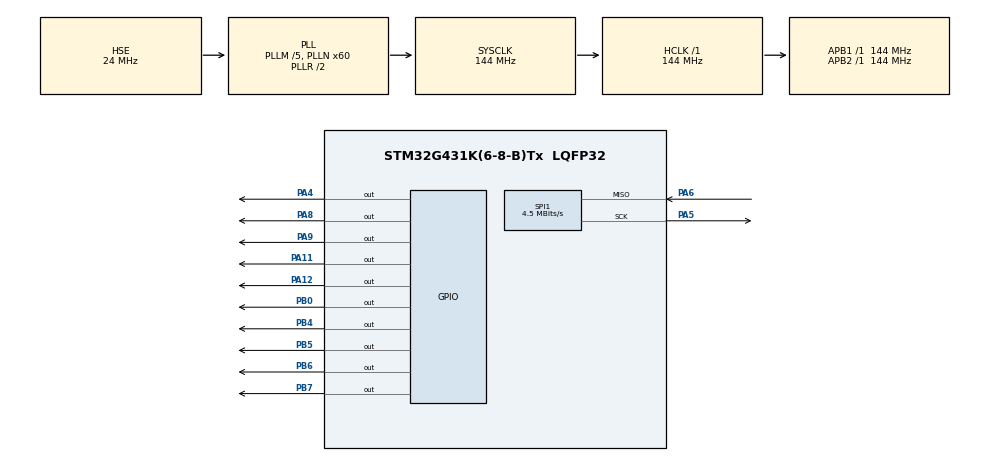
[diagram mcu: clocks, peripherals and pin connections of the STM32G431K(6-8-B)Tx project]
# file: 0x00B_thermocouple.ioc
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Mcu.Family=STM32G4
Mcu.Name=STM32G431K(6-8-B)Tx
Mcu.Package=LQFP32
NVIC.PriorityGroup=NVIC_PRIORITYGROUP_4
NVIC.TIM2_IRQn=true\:0\:0\:false\:false\:true\:true\:true
PA11.GPIO_Speed=GPIO_SPEED_FREQ_HIGH
PA11.Signal=GPIO_Output
PA12.GPIO_Speed=GPIO_SPEED_FREQ_HIGH
PA12.Signal=GPIO_Output
PA4.GPIO_Speed=GPIO_SPEED_FREQ_VERY_HIGH
PA4.PinState=GPIO_PIN_SET
PA4.Signal=GPIO_Output
PA5.GPIO_Speed=GPIO_SPEED_FREQ_VERY_HIGH
PA5.Mode=RX_Only_Simplex_Unidirect_Master
PA5.Signal=SPI1_SCK
PA6.GPIO_Speed=GPIO_SPEED_FREQ_VERY_HIGH
PA6.Mode=RX_Only_Simplex_Unidirect_Master
PA6.Signal=SPI1_MISO
PA8.GPIO_Speed=GPIO_SPEED_FREQ_HIGH
PA8.Signal=GPIO_Output
PA9.GPIO_Speed=GPIO_SPEED_FREQ_HIGH
PA9.Signal=GPIO_Output
PB0.GPIO_Speed=GPIO_SPEED_FREQ_HIGH
PB0.Signal=GPIO_Output
PB4.GPIO_Speed=GPIO_SPEED_FREQ_HIGH
PB4.Signal=GPIO_Output
PB5.GPIO_Speed=GPIO_SPEED_FREQ_HIGH
PB5.Signal=GPIO_Output
PB6.GPIO_FM6=__NULL
PB6.GPIO_Speed=GPIO_SPEED_FREQ_HIGH
PB6.Signal=GPIO_Output
PB7.GPIO_Speed=GPIO_SPEED_FREQ_HIGH
PB7.Signal=GPIO_Output
PF0-OSC_IN.Mode=HSE-External-Oscillator
PF0-OSC_IN.Signal=RCC_OSC_IN
PF1-OSC_OUT.Mode=HSE-External-Oscillator
PF1-OSC_OUT.Signal=RCC_OSC_OUT
ProjectManager.HeapSize=0x200
ProjectManager.StackSize=0x400
ProjectManager.TargetToolchain=STM32CubeIDE
RCC.ADC12Freq_Value=144000000
RCC.AHBFreq_Value=144000000
RCC.APB1Freq_Value=144000000
RCC.APB1TimFreq_Value=144000000
RCC.APB2Freq_Value=144000000
RCC.APB2TimFreq_Value=144000000
RCC.CortexFreq_Value=144000000
RCC.EXTERNAL_CLOCK_VALUE=12288000
RCC.HCLKFreq_Value=144000000
RCC.HSE_VALUE=24000000
RCC.HSI48_VALUE=48000000
RCC.HSI_VALUE=16000000
RCC.LSE_VALUE=32768
RCC.PLLM=RCC_PLLM_DIV5
RCC.PLLN=60
RCC.PLLSourceVirtual=RCC_PLLSOURCE_HSE
RCC.SYSCLKFreq_VALUE=144000000
RCC.SYSCLKSource=RCC_SYSCLKSOURCE_PLLCLK
RCC.USBFreq_Value=144000000
RCC.VCOOutputFreq_Value=288000000
SPI1.BaudRatePrescaler=SPI_BAUDRATEPRESCALER_32
SPI1.CalculateBaudRate=4.5 MBits/s
SPI1.DataSize=SPI_DATASIZE_16BIT
SPI1.Direction=SPI_DIRECTION_2LINES_RXONLY
SPI1.Mode=SPI_MODE_MASTER
SPI1.VirtualType=VM_MASTER
TIM2.PeriodNoDither=5000
TIM2.Prescaler=14400
VP_SYS_VS_DBSignals.Mode=DisableDeadBatterySignals
VP_TIM2_VS_ClockSourceINT.Mode=Internal
board=custom

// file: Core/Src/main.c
/* USER CODE BEGIN Header */
/**
 ******************************************************************************
 * @file           : main.c
 * @brief          : Main program body
 ******************************************************************************
 * @attention
 *
 * <h2><center>&copy; Copyright (c) 2019 STMicroelectronics.
 * All rights reserved.</center></h2>
 *
 * This software component is licensed by ST under BSD 3-Clause license,
 * the "License"; You may not use this file except in compliance with the
 * License. You may obtain a copy of the License at:
 *                        opensource.org/licenses/BSD-3-Clause
 *
 ******************************************************************************
 */
/* USER CODE END Header */

#include "main.h"

SPI_HandleTypeDef hspi1;

TIM_HandleTypeDef htim2;

/* USER CODE BEGIN PV */

volatile uint32_t t;
volatile uint32_t t_prev;

/* Thermocouple structs */
MAX31855 T1;
MAX31855 T2;
SPIReadErrorCode spi_error;		// Thermocouple errors

/* Display struct */
ST7066U disp;

/* USER CODE END PV */

void SystemClock_Config(void);
static void MX_GPIO_Init(void);
static void MX_SPI1_Init(void);
static void MX_TIM2_Init(void);

int main(void)
{

	/* MCU Configuration--------------------------------------------------------*/

	/* Reset of all peripherals, Initializes the Flash interface and the Systick. */
	HAL_Init();

	/* USER CODE BEGIN Init */

	// Init timer tracking variables
	t = 0;
	t_prev = t;						// timer increment

	// Init Thermocouple1 params
	T1.port = GPIOA;
	T1.pin = GPIO_PIN_4;

	// Init display params
	disp.rs_port = GPIOB;
	disp.rs_pin = GPIO_PIN_5;
	disp.rw_port = GPIOA;
	disp.rw_pin = GPIO_PIN_11;
	disp.e_port = GPIOA;
	disp.e_pin = GPIO_PIN_8;
	disp.d4_port = GPIOB;
	disp.d4_pin = GPIO_PIN_6;
	disp.d5_port = GPIOB;
	disp.d5_pin = GPIO_PIN_7;
	disp.d6_port = GPIOB;
	disp.d6_pin = GPIO_PIN_0;
	disp.d7_port = GPIOA;
	disp.d7_pin = GPIO_PIN_12;

	/* USER CODE END Init */

	/* Configure the system clock */
	SystemClock_Config();

	/* Initialize all configured peripherals */
	MX_GPIO_Init();
	MX_SPI1_Init();
	MX_TIM2_Init();
	/* USER CODE BEGIN 2 */

	ST7066U_Init(&disp);			// Initialize display

	HAL_TIM_Base_Start_IT(&htim2);  // Start timer2

	ST7066U_ClearDisplay(&disp);	// Make sure display is cleared

	// Write text to display
	ST7066U_WriteText(&disp, (uint8_t*) "Thm:", 0x80,
							ST7066U_NO_CLR);
	ST7066U_WriteText(&disp, (uint8_t*) "IC:", 0x8A,
							ST7066U_NO_CLR);
	ST7066U_WriteText(&disp, (uint8_t*) "t:", 0xC1,
								ST7066U_NO_CLR);

	/* USER CODE END 2 */

	/* Infinite loop */
	/* USER CODE BEGIN WHILE */
	while (1)
	{
		if (t_prev != t)
		{
			HAL_GPIO_TogglePin(GPIOA, GPIO_PIN_9);			// Blink LED

			t_prev = t;										// increment t_prev

			if (!(t_prev % 2))
			{
				spi_error = MAX31855_Read(&T1, &hspi1);		// Read thermocouple

				ST7066U_WriteText(&disp, (uint8_t*) "      ", 0x84,
						ST7066U_NO_CLR);
				ST7066U_WriteText(&disp, (uint8_t*) "   ", 0x8D,
						ST7066U_NO_CLR);
				ST7066U_WriteText(&disp, (uint8_t*) "            ", 0xC3,
										ST7066U_NO_CLR);
				ST7066U_WriteInteger(&disp, (uint32_t) (T1.temp_thermo / 4),
						0x86, ST7066U_NO_CLR);
				ST7066U_WriteInteger(&disp, (uint32_t) (T1.temp_int / 16),
						0x8E, ST7066U_NO_CLR);
				ST7066U_WriteInteger(&disp, t / 2, 0xC4, ST7066U_NO_CLR);
				ST7066U_GoTo(&disp, 0xCF);
			}
		}

		/* USER CODE END WHILE */

	}
}

void SystemClock_Config(void)
{
	RCC_OscInitTypeDef RCC_OscInitStruct =
	{ 0 };
	RCC_ClkInitTypeDef RCC_ClkInitStruct =
	{ 0 };

	/** Configure the main internal regulator output voltage
	 */
	HAL_PWREx_ControlVoltageScaling(PWR_REGULATOR_VOLTAGE_SCALE1);
	/** Initializes the CPU, AHB and APB busses clocks
	 */
	RCC_OscInitStruct.OscillatorType = RCC_OSCILLATORTYPE_HSE;
	RCC_OscInitStruct.HSEState = RCC_HSE_ON;
	RCC_OscInitStruct.PLL.PLLState = RCC_PLL_ON;
	RCC_OscInitStruct.PLL.PLLSource = RCC_PLLSOURCE_HSE;
	RCC_OscInitStruct.PLL.PLLM = RCC_PLLM_DIV5;
	RCC_OscInitStruct.PLL.PLLN = 60;
	RCC_OscInitStruct.PLL.PLLP = RCC_PLLP_DIV2;
	RCC_OscInitStruct.PLL.PLLQ = RCC_PLLQ_DIV2;
	RCC_OscInitStruct.PLL.PLLR = RCC_PLLR_DIV2;
	if (HAL_RCC_OscConfig(&RCC_OscInitStruct) != HAL_OK)
	{
		Error_Handler();
	}
	/** Initializes the CPU, AHB and APB busses clocks
	 */
	RCC_ClkInitStruct.ClockType = RCC_CLOCKTYPE_HCLK | RCC_CLOCKTYPE_SYSCLK
			| RCC_CLOCKTYPE_PCLK1 | RCC_CLOCKTYPE_PCLK2;
	RCC_ClkInitStruct.SYSCLKSource = RCC_SYSCLKSOURCE_PLLCLK;
	RCC_ClkInitStruct.AHBCLKDivider = RCC_SYSCLK_DIV1;
	RCC_ClkInitStruct.APB1CLKDivider = RCC_HCLK_DIV1;
	RCC_ClkInitStruct.APB2CLKDivider = RCC_HCLK_DIV1;

	if (HAL_RCC_ClockConfig(&RCC_ClkInitStruct, FLASH_LATENCY_7) != HAL_OK)
	{
		Error_Handler();
	}
}

static void MX_SPI1_Init(void)
{

	/* SPI1 parameter configuration*/
	hspi1.Instance = SPI1;
	hspi1.Init.Mode = SPI_MODE_MASTER;
	hspi1.Init.Direction = SPI_DIRECTION_2LINES_RXONLY;
	hspi1.Init.DataSize = SPI_DATASIZE_16BIT;
	hspi1.Init.CLKPolarity = SPI_POLARITY_LOW;
	hspi1.Init.CLKPhase = SPI_PHASE_1EDGE;
	hspi1.Init.NSS = SPI_NSS_SOFT;
	hspi1.Init.BaudRatePrescaler = SPI_BAUDRATEPRESCALER_32;
	hspi1.Init.FirstBit = SPI_FIRSTBIT_MSB;
	hspi1.Init.TIMode = SPI_TIMODE_DISABLE;
	hspi1.Init.CRCCalculation = SPI_CRCCALCULATION_DISABLE;
	hspi1.Init.CRCPolynomial = 7;
	hspi1.Init.CRCLength = SPI_CRC_LENGTH_DATASIZE;
	hspi1.Init.NSSPMode = SPI_NSS_PULSE_ENABLE;
	if (HAL_SPI_Init(&hspi1) != HAL_OK)
	{
		Error_Handler();
	}

}

static void MX_TIM2_Init(void)
{

	TIM_ClockConfigTypeDef sClockSourceConfig =
	{ 0 };
	TIM_MasterConfigTypeDef sMasterConfig =
	{ 0 };

	htim2.Instance = TIM2;
	htim2.Init.Prescaler = 14400;
	htim2.Init.CounterMode = TIM_COUNTERMODE_UP;
	htim2.Init.Period = 5000;
	htim2.Init.ClockDivision = TIM_CLOCKDIVISION_DIV1;
	htim2.Init.AutoReloadPreload = TIM_AUTORELOAD_PRELOAD_DISABLE;
	if (HAL_TIM_Base_Init(&htim2) != HAL_OK)
	{
		Error_Handler();
	}
	sClockSourceConfig.ClockSource = TIM_CLOCKSOURCE_INTERNAL;
	if (HAL_TIM_ConfigClockSource(&htim2, &sClockSourceConfig) != HAL_OK)
	{
		Error_Handler();
	}
	sMasterConfig.MasterOutputTrigger = TIM_TRGO_RESET;
	sMasterConfig.MasterSlaveMode = TIM_MASTERSLAVEMODE_DISABLE;
	if (HAL_TIMEx_MasterConfigSynchronization(&htim2, &sMasterConfig) != HAL_OK)
	{
		Error_Handler();
	}

}

static void MX_GPIO_Init(void)
{
	GPIO_InitTypeDef GPIO_InitStruct =
	{ 0 };

	/* GPIO Ports Clock Enable */
	__HAL_RCC_GPIOF_CLK_ENABLE();
	__HAL_RCC_GPIOA_CLK_ENABLE();
	__HAL_RCC_GPIOB_CLK_ENABLE();

	/*Configure GPIO pin Output Level */
	HAL_GPIO_WritePin(GPIOA, GPIO_PIN_4, GPIO_PIN_SET);

	/*Configure GPIO pin Output Level */
	HAL_GPIO_WritePin(GPIOB,
			GPIO_PIN_0 | GPIO_PIN_4 | GPIO_PIN_5 | GPIO_PIN_6 | GPIO_PIN_7,
			GPIO_PIN_RESET);

	/*Configure GPIO pin Output Level */
	HAL_GPIO_WritePin(GPIOA,
			GPIO_PIN_8 | GPIO_PIN_9 | GPIO_PIN_11 | GPIO_PIN_12,
			GPIO_PIN_RESET);

	/*Configure GPIO pin : PA4 */
	GPIO_InitStruct.Pin = GPIO_PIN_4;
	GPIO_InitStruct.Mode = GPIO_MODE_OUTPUT_PP;
	GPIO_InitStruct.Pull = GPIO_NOPULL;
	GPIO_InitStruct.Speed = GPIO_SPEED_FREQ_VERY_HIGH;
	HAL_GPIO_Init(GPIOA, &GPIO_InitStruct);

	/*Configure GPIO pins : PB0 PB4 PB5 PB6
	 PB7 */
	GPIO_InitStruct.Pin = GPIO_PIN_0 | GPIO_PIN_4 | GPIO_PIN_5 | GPIO_PIN_6
			| GPIO_PIN_7;
	GPIO_InitStruct.Mode = GPIO_MODE_OUTPUT_PP;
	GPIO_InitStruct.Pull = GPIO_NOPULL;
	GPIO_InitStruct.Speed = GPIO_SPEED_FREQ_HIGH;
	HAL_GPIO_Init(GPIOB, &GPIO_InitStruct);

	/*Configure GPIO pins : PA8 PA9 PA11 PA12 */
	GPIO_InitStruct.Pin = GPIO_PIN_8 | GPIO_PIN_9 | GPIO_PIN_11 | GPIO_PIN_12;
	GPIO_InitStruct.Mode = GPIO_MODE_OUTPUT_PP;
	GPIO_InitStruct.Pull = GPIO_NOPULL;
	GPIO_InitStruct.Speed = GPIO_SPEED_FREQ_HIGH;
	HAL_GPIO_Init(GPIOA, &GPIO_InitStruct);

}

void Error_Handler(void)
{
}

/************************ (C) COPYRIGHT STMicroelectronics *****END OF FILE****/
